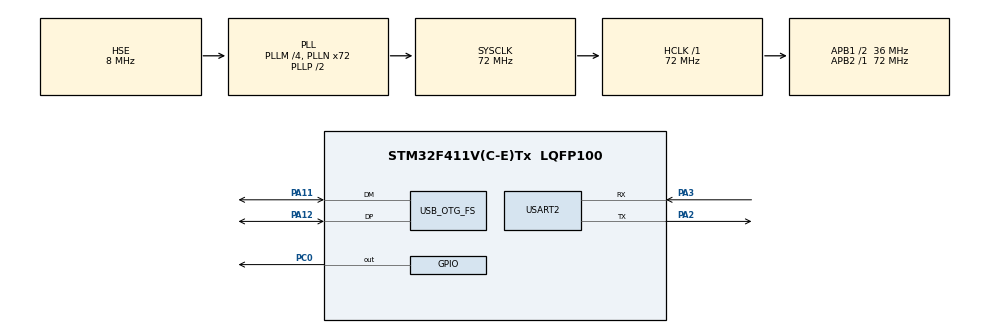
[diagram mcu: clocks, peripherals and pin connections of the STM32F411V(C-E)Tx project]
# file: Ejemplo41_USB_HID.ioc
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Mcu.Family=STM32F4
Mcu.Name=STM32F411V(C-E)Tx
Mcu.Package=LQFP100
NVIC.OTG_FS_IRQn=true\:0\:0\:false\:false\:true\:false\:true\:true
NVIC.PriorityGroup=NVIC_PRIORITYGROUP_4
PA11.Mode=Host_Only
PA11.Signal=USB_OTG_FS_DM
PA12.Mode=Host_Only
PA12.Signal=USB_OTG_FS_DP
PA13.Mode=Serial_Wire
PA13.Signal=SYS_JTMS-SWDIO
PA14.Mode=Serial_Wire
PA14.Signal=SYS_JTCK-SWCLK
PA2.Mode=Asynchronous
PA2.Signal=USART2_TX
PA3.Mode=Asynchronous
PA3.Signal=USART2_RX
PC0.Signal=GPIO_Output
PH0\ -\ OSC_IN.Mode=HSE-External-Oscillator
PH0\ -\ OSC_IN.Signal=RCC_OSC_IN
PH1\ -\ OSC_OUT.Mode=HSE-External-Oscillator
PH1\ -\ OSC_OUT.Signal=RCC_OSC_OUT
ProjectManager.HeapSize=0x200
ProjectManager.StackSize=0x400
ProjectManager.TargetToolchain=STM32CubeIDE
RCC.48MHZClocksFreq_Value=48000000
RCC.AHBFreq_Value=72000000
RCC.APB1CLKDivider=RCC_HCLK_DIV2
RCC.APB1Freq_Value=36000000
RCC.APB1TimFreq_Value=72000000
RCC.APB2Freq_Value=72000000
RCC.APB2TimFreq_Value=72000000
RCC.CortexFreq_Value=72000000
RCC.HCLKFreq_Value=72000000
RCC.HSE_VALUE=8000000
RCC.HSI_VALUE=16000000
RCC.LSE_VALUE=32768
RCC.PLLM=4
RCC.PLLN=72
RCC.PLLQ=3
RCC.SYSCLKFreq_VALUE=72000000
RCC.SYSCLKSource=RCC_SYSCLKSOURCE_PLLCLK
RCC.VCOOutputFreq_Value=144000000
USART2.VirtualMode=VM_ASYNC
USB_HOST.BSP.number=1
USB_HOST.USBH_HandleTypeDef=hUsbHostFS
USB_HOST.VirtualModeFS=Hid
USB_HOST0.BSP.STBoard=false
USB_HOST0.BSP.api=Unknown
USB_HOST0.BSP.instance=PC0
USB_HOST0.BSP.ip=GPIO
USB_HOST0.BSP.mode=Output
USB_HOST0.BSP.name=Drive_VBUS_FS
USB_HOST0.BSP.solution=PC0
USB_OTG_FS.VirtualMode=Host_Only
USB_OTG_FS.phy_itface=HCD_PHY_EMBEDDED
VP_USB_HOST_VS_USB_HOST_HID_FS.Mode=HID_FS
board=custom

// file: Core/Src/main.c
/* USER CODE BEGIN Header */
/**
  ******************************************************************************
  * @file           : main.c
  * @brief          : Main program body
  ******************************************************************************
  * @attention
  *
  * Copyright (c) 2024 STMicroelectronics.
  * All rights reserved.
  *
  * This software is licensed under terms that can be found in the LICENSE file
  * in the root directory of this software component.
  * If no LICENSE file comes with this software, it is provided AS-IS.
  *
  ******************************************************************************
  */
/* USER CODE END Header */
#include "main.h"
#include "usb_host.h"

/* USER CODE BEGIN Includes */
#include "usbh_hid.h"
#include "string.h"
/* USER CODE END Includes */

UART_HandleTypeDef huart2;

void SystemClock_Config(void);
static void MX_GPIO_Init(void);
static void MX_USART2_UART_Init(void);
void MX_USB_HOST_Process(void);

/* USER CODE BEGIN 0 */

char mensaje_Tx[100];
void USBH_HID_EventCallback(USBH_HandleTypeDef *phost){

	if (USBH_HID_GetDeviceType(phost) == HID_MOUSE) {
		HID_MOUSE_Info_TypeDef *Mouse_data;
		Mouse_data = USBH_HID_GetMouseInfo(phost);
		int x = Mouse_data->x;
		int y = Mouse_data->y;

		if (x >127) {
			x -=255;
		}
		if (y >127) {
			y -=255;
		}

		int len = sprintf(mensaje_Tx,"X_axis =%d , Y_Axis=%d ,Boton1=%d , Boton2=%d , Boton3=%d\n\r",x,y,Mouse_data->buttons[0],Mouse_data->buttons[1],Mouse_data->buttons[2]);
		HAL_UART_Transmit(&huart2, (uint8_t *)mensaje_Tx, len, 20000);
	}

	if (USBH_HID_GetDeviceType(phost) == HID_KEYBOARD) {
		HID_KEYBD_Info_TypeDef *Key_Info;
		Key_Info = USBH_HID_GetKeybdInfo(phost);
		char key = USBH_HID_GetASCIICode(Key_Info);
		int len = sprintf(mensaje_Tx,"Tecla Pulsada : %c\n\r",key);
		HAL_UART_Transmit(&huart2, (uint8_t *)mensaje_Tx, len, 20000);
	}
}
/* USER CODE END 0 */

int main(void)
{

  /* MCU Configuration--------------------------------------------------------*/

  /* Reset of all peripherals, Initializes the Flash interface and the Systick. */
  HAL_Init();

  /* Configure the system clock */
  SystemClock_Config();

  /* Initialize all configured peripherals */
  MX_GPIO_Init();
  MX_USART2_UART_Init();
  MX_USB_HOST_Init();

  /* Infinite loop */
  while (1)
  {
    MX_USB_HOST_Process();

  }
}

void SystemClock_Config(void)
{
  RCC_OscInitTypeDef RCC_OscInitStruct = {0};
  RCC_ClkInitTypeDef RCC_ClkInitStruct = {0};

  /** Configure the main internal regulator output voltage
  */
  __HAL_RCC_PWR_CLK_ENABLE();
  __HAL_PWR_VOLTAGESCALING_CONFIG(PWR_REGULATOR_VOLTAGE_SCALE1);

  /** Initializes the RCC Oscillators according to the specified parameters
  * in the RCC_OscInitTypeDef structure.
  */
  RCC_OscInitStruct.OscillatorType = RCC_OSCILLATORTYPE_HSE;
  RCC_OscInitStruct.HSEState = RCC_HSE_ON;
  RCC_OscInitStruct.PLL.PLLState = RCC_PLL_ON;
  RCC_OscInitStruct.PLL.PLLSource = RCC_PLLSOURCE_HSE;
  RCC_OscInitStruct.PLL.PLLM = 4;
  RCC_OscInitStruct.PLL.PLLN = 72;
  RCC_OscInitStruct.PLL.PLLP = RCC_PLLP_DIV2;
  RCC_OscInitStruct.PLL.PLLQ = 3;
  if (HAL_RCC_OscConfig(&RCC_OscInitStruct) != HAL_OK)
  {
    Error_Handler();
  }

  /** Initializes the CPU, AHB and APB buses clocks
  */
  RCC_ClkInitStruct.ClockType = RCC_CLOCKTYPE_HCLK|RCC_CLOCKTYPE_SYSCLK
                              |RCC_CLOCKTYPE_PCLK1|RCC_CLOCKTYPE_PCLK2;
  RCC_ClkInitStruct.SYSCLKSource = RCC_SYSCLKSOURCE_PLLCLK;
  RCC_ClkInitStruct.AHBCLKDivider = RCC_SYSCLK_DIV1;
  RCC_ClkInitStruct.APB1CLKDivider = RCC_HCLK_DIV2;
  RCC_ClkInitStruct.APB2CLKDivider = RCC_HCLK_DIV1;

  if (HAL_RCC_ClockConfig(&RCC_ClkInitStruct, FLASH_LATENCY_2) != HAL_OK)
  {
    Error_Handler();
  }
}

static void MX_USART2_UART_Init(void)
{

  huart2.Instance = USART2;
  huart2.Init.BaudRate = 115200;
  huart2.Init.WordLength = UART_WORDLENGTH_8B;
  huart2.Init.StopBits = UART_STOPBITS_1;
  huart2.Init.Parity = UART_PARITY_NONE;
  huart2.Init.Mode = UART_MODE_TX_RX;
  huart2.Init.HwFlowCtl = UART_HWCONTROL_NONE;
  huart2.Init.OverSampling = UART_OVERSAMPLING_16;
  if (HAL_UART_Init(&huart2) != HAL_OK)
  {
    Error_Handler();
  }

}

static void MX_GPIO_Init(void)
{
  GPIO_InitTypeDef GPIO_InitStruct = {0};

  /* GPIO Ports Clock Enable */
  __HAL_RCC_GPIOH_CLK_ENABLE();
  __HAL_RCC_GPIOC_CLK_ENABLE();
  __HAL_RCC_GPIOA_CLK_ENABLE();

  /*Configure GPIO pin Output Level */
  HAL_GPIO_WritePin(GPIOC, GPIO_PIN_0, GPIO_PIN_RESET);

  /*Configure GPIO pin : PC0 */
  GPIO_InitStruct.Pin = GPIO_PIN_0;
  GPIO_InitStruct.Mode = GPIO_MODE_OUTPUT_PP;
  GPIO_InitStruct.Pull = GPIO_NOPULL;
  GPIO_InitStruct.Speed = GPIO_SPEED_FREQ_LOW;
  HAL_GPIO_Init(GPIOC, &GPIO_InitStruct);

}

void Error_Handler(void)
{
  __disable_irq();
  while (1)
  {
  }
}
